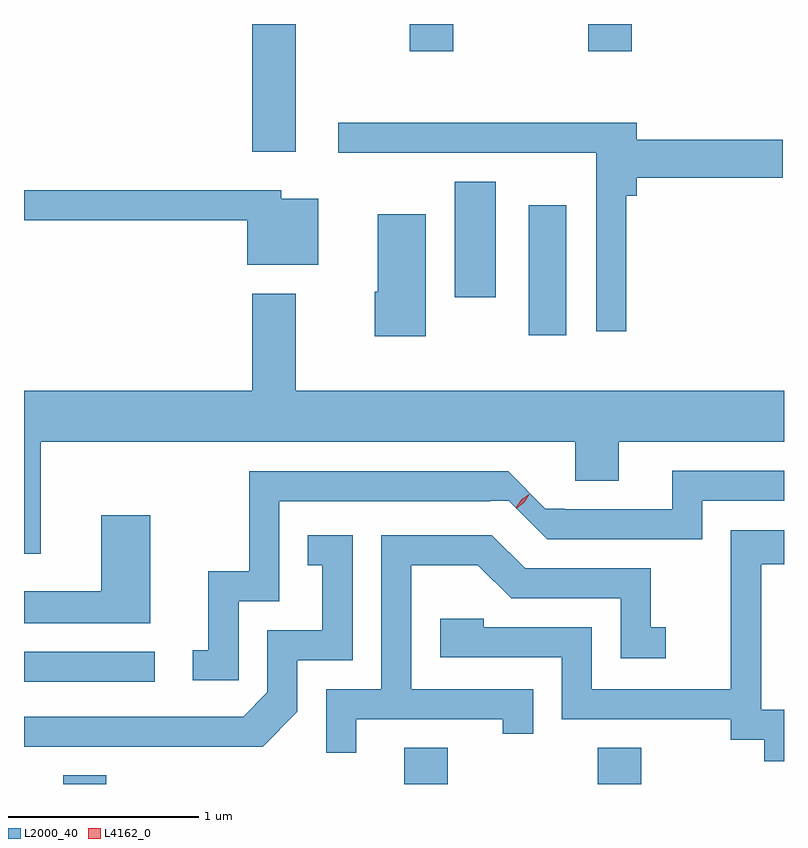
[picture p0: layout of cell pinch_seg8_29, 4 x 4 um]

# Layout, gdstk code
import gdstk
lib = gdstk.Library(unit=1e-6, precision=1e-09)
def R(c, l, rs):  # rectangles x0, y0, x1, y1
    for r in rs: c.add(gdstk.rectangle(r[:2], r[2:], *l))
def P(c, l, *ps):  # polygons
    for p in ps: c.add(gdstk.Polygon(p, *l))
L2000_40 = (2000, 40)
L4162_0 = (4162, 0)

pinch_seg8_29 = lib.new_cell('pinch_seg8_29')
R(pinch_seg8_29, L2000_40, [(855.166,1883.454,855.394,1883.499), (856.961,1883.454,857.189,1883.644), (857.981,1883.454,858.209,1883.644), (854.96,1883.991,855.648,1884.149), (857.616,1885.816,857.814,1886.499), (857.226,1886.016,857.444,1886.624), (856.161,1886.781,856.389,1887.454), (856.991,1887.311,857.219,1887.454), (857.931,1887.311,858.159,1887.454)])
P(pinch_seg8_29, L2000_40, [(858.129,1886.551),(858.184,1886.551),(858.184,1886.646),(858.954,1886.646),(858.954,1886.844),(858.184,1886.844),(858.184,1886.934),(856.613,1886.934),(856.613,1886.776),(857.971,1886.776),(857.971,1885.838),(858.129,1885.838)],
  [(856.509,1886.534),(856.314,1886.534),(856.314,1886.579),(854.96,1886.579),(854.96,1886.421),(856.136,1886.421),(856.136,1886.186),(856.509,1886.186)],
  [(857.074,1886.454),(856.821,1886.454),(856.821,1886.045),(856.806,1886.045),(856.806,1885.811),(857.074,1885.811)],
  [(855.049,1885.256),(857.861,1885.256),(857.861,1885.051),(858.089,1885.051),(858.089,1885.256),(858.96,1885.256),(858.96,1885.524),(856.389,1885.524),(856.389,1886.034),(856.161,1886.034),(856.161,1885.524),(854.96,1885.524),(854.96,1884.666),(855.049,1884.666)],
  [(856.089,1884.416),(856.304,1884.416),(856.304,1884.941),(857.415,1884.941),(857.415,1884.945),(857.51,1884.945),(857.714,1884.741),(858.529,1884.741),(858.529,1884.946),(858.96,1884.946),(858.96,1885.104),(858.371,1885.104),(858.371,1884.899),(857.806,1884.899),(857.806,1884.903),(857.704,1884.903),(857.508,1885.099),(856.146,1885.099),(856.146,1884.574),(855.931,1884.574),(855.931,1884.159),(855.848,1884.159),(855.848,1884.001),(856.089,1884.001)],
  [(855.624,1884.869),(855.366,1884.869),(855.366,1884.469),(854.96,1884.469),(854.96,1884.301),(855.624,1884.301)],
  [(858.96,1883.844),(858.839,1883.844),(858.839,1884.611),(858.96,1884.611),(858.96,1884.789),(858.681,1884.789),(858.681,1883.954),(857.949,1883.954),(857.949,1884.279),(857.379,1884.279),(857.379,1884.324),(857.151,1884.324),(857.151,1884.121),(857.791,1884.121),(857.791,1883.796),(858.681,1883.796),(858.681,1883.686),(858.856,1883.686),(858.856,1883.573),(858.96,1883.573)],
  [(856.709,1883.796),(857.481,1883.796),(857.481,1883.718),(857.639,1883.718),(857.639,1883.954),(856.999,1883.954),(856.999,1884.606),(857.349,1884.606),(857.524,1884.431),(858.101,1884.431),(858.101,1884.116),(858.338,1884.116),(858.338,1884.279),(858.259,1884.279),(858.259,1884.589),(857.597,1884.589),(857.422,1884.764),(856.841,1884.764),(856.841,1883.954),(856.551,1883.954),(856.551,1883.618),(856.709,1883.618)],
  [(856.399,1883.834),(856.399,1884.106),(856.689,1884.106),(856.689,1884.764),(856.453,1884.764),(856.453,1884.606),(856.531,1884.606),(856.531,1884.264),(856.241,1884.264),(856.241,1883.937),(856.114,1883.809),(854.96,1883.809),(854.96,1883.651),(856.217,1883.651)])
P(pinch_seg8_29, L4162_0, [(857.55,1884.904),(857.55,1884.905),(857.578,1884.95),(857.621,1884.982),(857.622,1884.982),(857.622,1884.982),(857.593,1884.936),(857.551,1884.904)],
  [(857.552,1884.909),(857.552,1884.91),(857.578,1884.951),(857.618,1884.979),(857.619,1884.979),(857.619,1884.978),(857.592,1884.937),(857.553,1884.909)])

lib.write_gds('pinch_seg8_29.gds')
